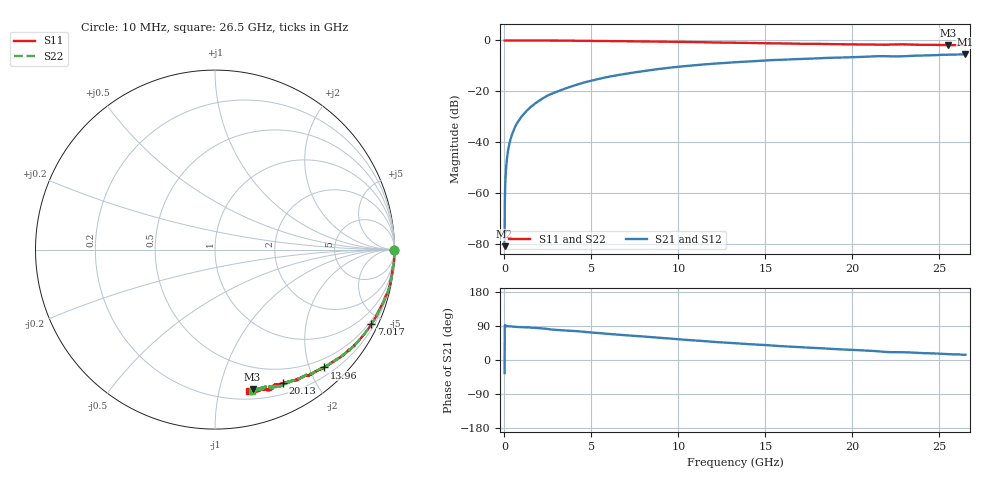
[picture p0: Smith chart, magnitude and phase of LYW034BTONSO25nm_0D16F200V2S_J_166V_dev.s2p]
!Keysight Technologies,N5222B,MY61253708,A.15.00.15
!Date: Wednesday, June 19, 2024 10:20:42
!Correction: S11(C  2-Port  )
!S21(C  2-Port  )
!S12(C  2-Port  )
!S22(C  2-Port  )
!S2P File: Measurements: S11, S21, S12, S22:
# Hz S  RI  R 50
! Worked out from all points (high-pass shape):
!   2651 points, 10 MHz to 26.5 GHz, reference 50 ohm
!   highest |S21| = -5.42 dB at 26.5 GHz (marker M1); lowest = -80.8 dB at 10 MHz (marker M2)
!   |S21| within 3 dB of the highest: 13.57 GHz to end of sweep
!   lowest |S11| = -1.9 dB at 25.5 GHz (marker M3), VSWR 9.18, Z = 14.4 - j63.2 ohm
!   |S11| at or under -10 dB: nowhere
!   |S22| runs from -1.8 to 0.0 dB; largest |S21 - S12| = 0.0062
!   S11 on the Smith chart (normalised r, x): 10 MHz: open; 7.017 GHz: 0.36, -4.40; 13.96 GHz: 0.34, -2.24; 20.13 GHz: 0.32, -1.59; 26.5 GHz: 0.27, -1.23
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1e7  0.9985 -0.00323  7.51e-05 -5.16e-05  -1.51e-05 0.000397  0.9982 -0.00167
7.997358e7  0.9999 -0.0057  1.32e-05 0.00262  2.64e-05 0.00261  0.9994 -0.00516
1.499472e8  1 -0.0107  5.34e-05 0.00492  5.47e-05 0.00492  0.9997 -0.00997
1.799358e8  0.9999 -0.0119  7.05e-05 0.00589  6.94e-05 0.00591  0.9997 -0.0112
2.199208e8  0.9999 -0.0148  0.000121 0.00719  0.000107 0.00721  0.9994 -0.0139
3.098868e8  0.9996 -0.0207  0.000205 0.0101  0.000232 0.0102  0.9994 -0.0195
4.198453e8  0.9993 -0.0279  0.000405 0.0137  0.000389 0.0138  0.9994 -0.0269
5.697887e8  0.9985 -0.0376  0.000686 0.0186  0.00066 0.0187  0.9986 -0.036
7.59717e8  0.9983 -0.0499  0.00123 0.0247  0.00122 0.0248  0.9986 -0.049
1.059604e9  0.9974 -0.0708  0.00215 0.0342  0.00217 0.0344  0.9961 -0.0682
1.409472e9  0.9912 -0.0946  0.00312 0.0457  0.0032 0.0458  0.9939 -0.0902
2.309132e9  0.9829 -0.1489  0.00942 0.0761  0.00958 0.0763  0.9842 -0.1487
4.428332e9  0.9441 -0.2777  0.0374 0.1399  0.0375 0.1402  0.9463 -0.2736
7.017355e9  0.8717 -0.4153  0.0937 0.2022  0.0945 0.2024  0.8746 -0.413
8.846664e9  0.8077 -0.4986  0.1417 0.2348  0.1428 0.235  0.8107 -0.4949
1.3255e10  0.6342 -0.64  0.2673 0.2604  0.2691 0.26  0.6405 -0.6364
1.396473e10  0.6074 -0.6567  0.2863 0.2584  0.2872 0.2588  0.6131 -0.6529
1.767333e10  0.4639 -0.7213  0.3732 0.2347  0.3761 0.2329  0.4773 -0.717
2.01324e10  0.3806 -0.7436  0.4218 0.2097  0.4252 0.207  0.3984 -0.7443
2.209166e10  0.3289 -0.7564  0.4567 0.1745  0.4582 0.1715  0.3262 -0.7615
2.550038e10  0.2094 -0.7758  0.5066 0.1387  0.5079 0.1381  0.2332 -0.7779
2.65e10  0.1899 -0.7901  0.5203 0.1275  0.5196 0.1234  0.2066 -0.788
